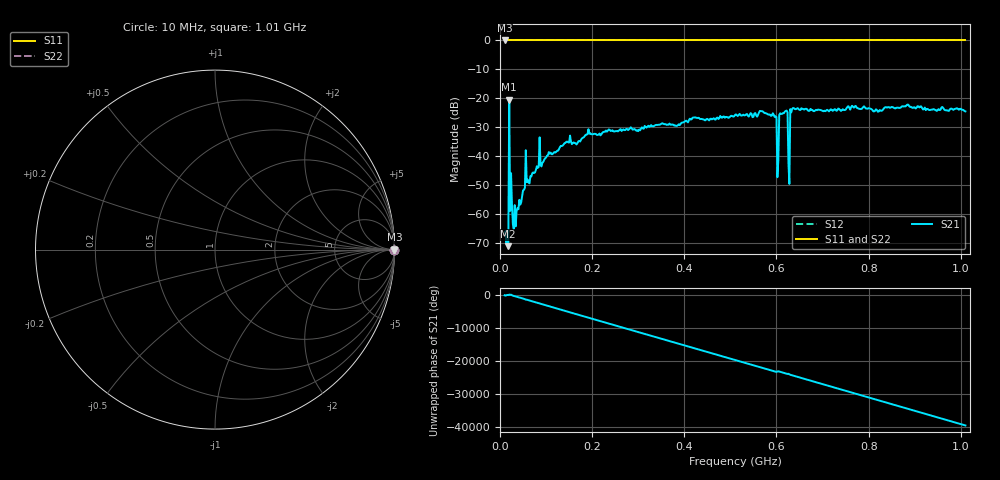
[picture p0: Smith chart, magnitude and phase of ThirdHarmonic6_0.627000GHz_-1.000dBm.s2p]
! 8/15/2025 8:40:13 PM
! C:\ANRITSUVNA\TEMP\TEMP.S2P
! CHANNEL.1
! TR.MEASUREMENT
! RAW.DATA
! RF.CORRECTION.OFF
! AVERAGING.OFF
! IF.BANDWIDTH: 5KHZ
! SWEEPTYPE:  FREQ.SWEEP(Linear)
! Reference Plane Port Info
! PORT:  PORT1  PORT2
! DISTANCE:  0  m  0  m
! TIME:  0  s  0  s
! PHASE.OFFSET:  0  deg.  0  deg.
! LOSS:  0  dB  0  dB
! REF.LOSS:  0  dB  0  dB
! REF.FREQ:  0  Hz  0  Hz
! Power Info
! POWER:  -20  dBm  -20  dBm
! EFF.POWER:  -20  dBm  -20  dBm
! SOURCE.ATTEN:  0  dB  0  dB
! TEST.ATTEN:  0  dB  0  dB
# GHZ S RI R 50.0
! FREQ.GHZ  S11RE  S11IM  S21RE  S21IM  S12RE  S12IM  S22RE  S22IM
!; PortSelection: Port_12
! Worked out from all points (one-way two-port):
!   501 points, 10 MHz to 1.01 GHz, reference 50 ohm
!   highest |S21| = -20.54 dB at 20 MHz (marker M1); lowest = -71.2 dB at 18 MHz (marker M2)
!   lowest |S11| = 0.0 dB at 10 MHz (marker M3)
!   |S11| at or under -10 dB: nowhere
!   |S22| runs from 0.0 to 0.0 dB; largest |S21 - S12| = 1.1
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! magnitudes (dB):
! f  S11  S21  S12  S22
! 10 MHz  0.0  -66.9  0.0  0.0
! 14 MHz  0.0  -70.0  0.0  0.0
! 18 MHz  0.0  -71.2  0.0  0.0
! 20 MHz  0.0  -20.5  0.0  0.0
! 24 MHz  0.0  -45.9  0.0  0.0
! 26 MHz  0.0  -56.9  0.0  0.0
! 32 MHz  0.0  -57.0  0.0  0.0
! 54 MHz  0.0  -51.0  0.0  0.0
! 82 MHz  0.0  -44.1  0.0  0.0
! 178 MHz  0.0  -33.9  0.0  0.0
! 344 MHz  0.0  -29.2  0.0  0.0
! 510 MHz  0.0  -25.8  0.0  0.0
! 596 MHz  0.0  -26.5  0.0  0.0
! 600 MHz  0.0  -26.4  0.0  0.0
! 606 MHz  0.0  -25.7  0.0  0.0
! 610 MHz  0.0  -25.4  0.0  0.0
! 620 MHz  0.0  -24.4  0.0  0.0
! 628 MHz  0.0  -49.6  0.0  0.0
! 634 MHz  0.0  -23.7  0.0  0.0
! 678 MHz  0.0  -24.1  0.0  0.0
! 844 MHz  0.0  -23.1  0.0  0.0
! 1.01 GHz  0.0  -24.5  0.0  0.0
